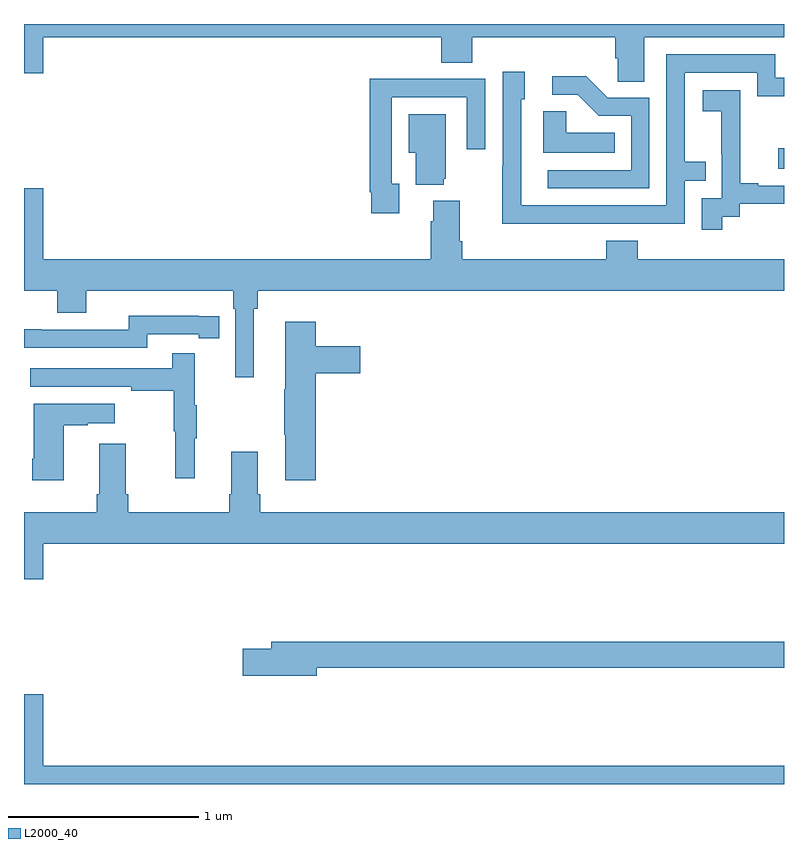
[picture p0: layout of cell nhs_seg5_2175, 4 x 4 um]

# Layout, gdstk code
import gdstk
lib = gdstk.Library(unit=1e-6, precision=1e-09)
def R(c, l, rs):  # rectangles x0, y0, x1, y1
    for r in rs: c.add(gdstk.rectangle(r[:2], r[2:], *l))
def P(c, l, *ps):  # polygons
    for p in ps: c.add(gdstk.Polygon(p, *l))
L2000_40 = (2000, 40)

nhs_seg5_2175 = lib.new_cell('nhs_seg5_2175')
R(nhs_seg5_2175, L2000_40, [(240.969,888.036,241,888.145)])
P(nhs_seg5_2175, L2000_40, [(240.265,888.728),(241,888.728),(241,888.799),(237,888.799),(237,888.54),(237.1,888.54),(237.1,888.728),(239.195,888.728),(239.195,888.595),(239.36,888.595),(239.36,888.728),(240.113,888.728),(240.113,888.619),(240.126,888.619),(240.126,888.496),(240.265,888.496)],
  [(239.981,887.748),(240.477,887.748),(240.477,887.973),(240.587,887.973),(240.587,888.074),(240.477,888.074),(240.477,888.543),(240.858,888.543),(240.858,888.42),(241,888.42),(241,888.516),(240.955,888.516),(240.955,888.639),(240.381,888.639),(240.381,887.844),(239.616,887.844),(239.616,888.402),(239.635,888.402),(239.635,888.547),(239.52,888.547),(239.52,888.053),(239.518,888.053),(239.518,887.747),(239.981,887.747)],
  [(240.291,888.411),(240.072,888.411),(239.959,888.524),(239.781,888.524),(239.781,888.426),(239.915,888.426),(240.026,888.315),(240.195,888.315),(240.195,888.03),(239.757,888.03),(239.757,887.934),(240.291,887.934)],
  [(238.975,887.958),(238.935,887.958),(238.935,888.414),(239.331,888.414),(239.331,888.141),(239.427,888.141),(239.427,888.51),(239.111,888.51),(239.111,888.512),(238.819,888.512),(238.819,887.914),(238.827,887.914),(238.827,887.802),(238.975,887.802)],
  [(240.676,887.785),(240.768,887.785),(240.768,887.853),(241,887.853),(241,887.949),(240.865,887.949),(240.865,887.962),(240.77,887.962),(240.77,888.245),(240.771,888.245),(240.771,888.451),(240.573,888.451),(240.573,888.341),(240.671,888.341),(240.671,888.113),(240.672,888.113),(240.672,887.883),(240.567,887.883),(240.567,887.715),(240.676,887.715)],
  [(240.11,888.226),(239.853,888.226),(239.853,888.341),(239.732,888.341),(239.732,888.122),(240.11,888.122)],
  [(239.21,887.985),(239.221,887.985),(239.221,888.325),(239.024,888.325),(239.024,888.122),(239.063,888.122),(239.063,887.954),(239.21,887.954)],
  [(238.21,887.3),(238.229,887.3),(238.229,887.396),(241,887.396),(241,887.56),(240.23,887.56),(240.23,887.659),(240.065,887.659),(240.065,887.56),(239.306,887.56),(239.306,887.656),(239.293,887.656),(239.293,887.869),(239.153,887.869),(239.153,887.762),(239.141,887.762),(239.141,887.56),(237.1,887.56),(237.1,887.935),(237,887.935),(237,887.396),(237.176,887.396),(237.176,887.279),(237.328,887.279),(237.328,887.396),(238.1,887.396),(238.1,887.3),(238.113,887.3),(238.113,886.941),(238.21,886.941)],
  [(237.648,887.166),(237.92,887.166),(237.92,887.146),(238.028,887.146),(238.028,887.262),(237.92,887.262),(237.92,887.263),(237.552,887.263),(237.552,887.19),(237.092,887.19),(237.092,887.192),(237,887.192),(237,887.094),(237.648,887.094)],
  [(238.535,886.961),(238.771,886.961),(238.771,887.103),(238.535,887.103),(238.535,887.233),(238.376,887.233),(238.376,886.877),(238.369,886.877),(238.369,886.636),(238.376,886.636),(238.376,886.398),(238.535,886.398)],
  [(237.899,886.619),(237.91,886.619),(237.91,886.793),(237.899,886.793),(237.899,887.065),(237.781,887.065),(237.781,886.986),(237.033,886.986),(237.033,886.89),(237.565,886.89),(237.565,886.87),(237.789,886.87),(237.789,886.656),(237.796,886.656),(237.796,886.407),(237.899,886.407)],
  [(237.208,886.687),(237.335,886.687),(237.335,886.697),(237.478,886.697),(237.478,886.801),(237.05,886.801),(237.05,886.51),(237.043,886.51),(237.043,886.398),(237.208,886.398)],
  [(237.1,886.064),(241,886.064),(241,886.228),(238.244,886.228),(238.244,886.324),(238.231,886.324),(238.231,886.549),(238.091,886.549),(238.091,886.324),(238.079,886.324),(238.079,886.228),(237.548,886.228),(237.548,886.324),(237.535,886.324),(237.535,886.591),(237.395,886.591),(237.395,886.324),(237.383,886.324),(237.383,886.228),(237,886.228),(237,885.876),(237.1,885.876)],
  [(238.54,885.412),(241,885.412),(241,885.548),(238.301,885.548),(238.301,885.512),(238.152,885.512),(238.152,885.37),(238.54,885.37)],
  [(241,884.896),(237.1,884.896),(237.1,885.271),(237,885.271),(237,884.799),(241,884.799)])

lib.write_gds('nhs_seg5_2175.gds')
